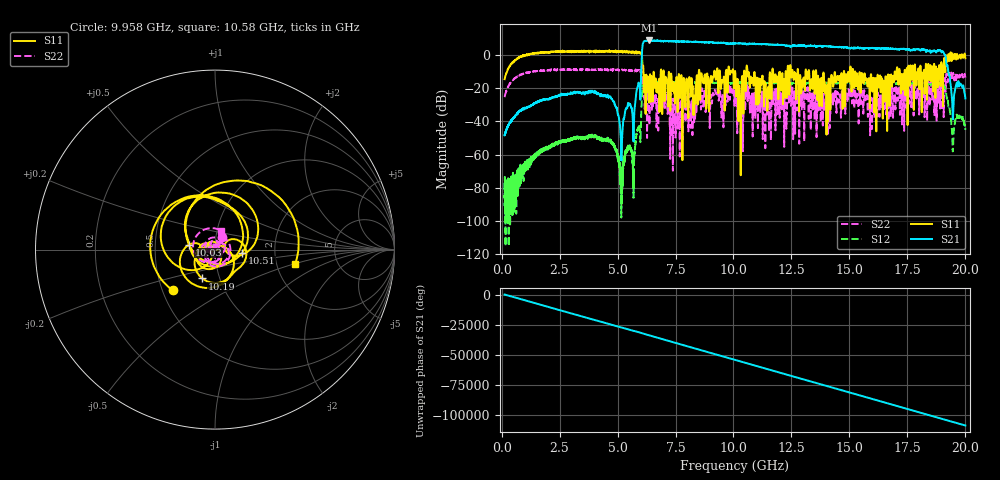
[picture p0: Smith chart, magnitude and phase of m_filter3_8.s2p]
!Created with skrf (http://scikit-rf.org).
# GHz S RI R 50.0
!freq ReS11 ImS11 ReS21 ImS21 ReS12 ImS12 ReS22 ImS22
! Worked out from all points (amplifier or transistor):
!   20013 points, 130 MHz to 20 GHz, reference 50 ohm
!   highest |S21| = 8.5 dB at 6.351 GHz (marker M1)
!   |S21| within 3 dB of that: 6.077 GHz to 12.23 GHz (6.149 GHz wide, 67.2 % of centre)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
!   unconditionally stable (mu >= 1): start of sweep to 1.071 GHz; 6.053 GHz to 19.26 GHz; 19.65 GHz to 19.83 GHz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
!   at 3.465 GHz: K = -1258.00, MSG = 13.2 dB, |S12| = -50.0 dB
!   at 10.14 GHz: K = 1.72, MAG = 7.0 dB, |S12| = -17.0 dB
!   at 20 GHz: K = 711.93, MAG = -22.1 dB, |S12| = -45.2 dB
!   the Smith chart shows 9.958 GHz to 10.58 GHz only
!   S11 on the Smith chart (normalised r, x): 9.958 GHz: 0.56, -0.29; 10.03 GHz: 0.75, +0.04; 10.19 GHz: 0.83, -0.27; 10.51 GHz: 1.36, -0.05; 10.58 GHz: 2.53, -0.52
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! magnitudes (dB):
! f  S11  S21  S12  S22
! 130 MHz  -14.7  -48.6  -76.8  -25.5
! 3.442 GHz  2.3  -23.2  -50.5  -9.3
! 4.73 GHz  2.2  -26.6  -52.7  -9.1
! 5.184 GHz  2.2  -54.7  -76.8  -8.9
! 5.428 GHz  1.4  -31.3  -57.0  -9.4
! 5.706 GHz  1.6  -41.2  -67.0  -9.2
! 6.134 GHz  -21.7  7.9  -17.4  -25.6
! 6.351 GHz  -28.6  8.5  -16.7  -27.2
! 6.754 GHz  -22.1  8.3  -16.7  -44.0
! 8.3 GHz  -34.3  7.8  -16.7  -38.8
! 9.958 GHz  -9.7  6.8  -17.1  -21.5
! 10.03 GHz  -16.7  6.9  -16.9  -29.7
! 10.06 GHz  -9.9  6.7  -17.2  -23.0
! 10.19 GHz  -15.1  6.7  -17.0  -25.1
! 10.51 GHz  -16.3  6.6  -16.9  -29.7
! 10.58 GHz  -6.9  6.2  -17.4  -19.1
! 11.45 GHz  -25.1  6.2  -17.0  -35.6
! 13.38 GHz  -18.0  5.3  -16.7  -27.8
! 16.69 GHz  -12.3  3.5  -17.1  -32.0
! 18.97 GHz  -5.0  1.5  -18.1  -17.3
! 19.45 GHz  0.4  -36.6  -56.5  -12.0
! 20 GHz  -2.2  -26.3  -45.2  -13.8
